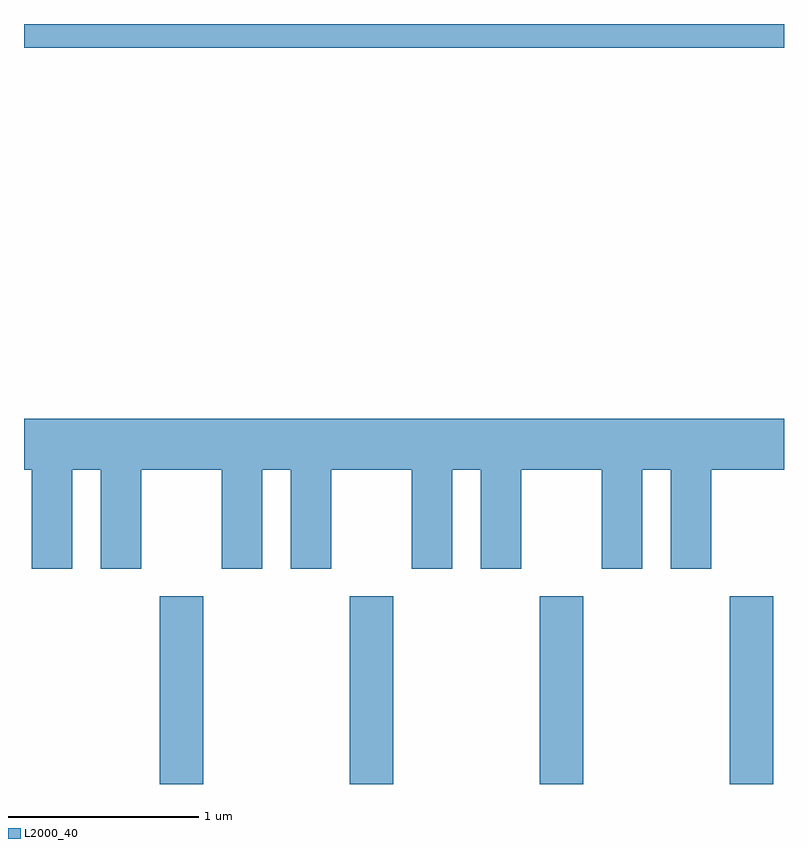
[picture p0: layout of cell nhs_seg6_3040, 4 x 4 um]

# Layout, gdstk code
import gdstk
lib = gdstk.Library(unit=1e-6, precision=1e-09)
def R(c, l, rs):  # rectangles x0, y0, x1, y1
    for r in rs: c.add(gdstk.rectangle(r[:2], r[2:], *l))
def A(c, l, x, y, w, h, nx, ny, dx, dy):  # array of equal rectangles
    R(c, l, [(x+i*dx, y+j*dy, x+i*dx+w, y+j*dy+h) for i in range(nx) for j in range(ny)])
def P(c, l, *ps):  # polygons
    for p in ps: c.add(gdstk.Polygon(p, *l))
L2000_40 = (2000, 40)

nhs_seg6_3040 = lib.new_cell('nhs_seg6_3040')
A(nhs_seg6_3040, L2000_40, 278.326, 1546.162, 0.228, 0.987, 4, 1, 1, 0)
R(nhs_seg6_3040, L2000_40, [(277.611,1550.036,281.611,1550.162)])
P(nhs_seg6_3040, L2000_40, [(277.864,1547.816),(278.016,1547.816),(278.016,1547.296),(278.229,1547.296),(278.229,1547.816),(278.651,1547.816),(278.651,1547.296),(278.864,1547.296),(278.864,1547.816),(279.016,1547.816),(279.016,1547.296),(279.229,1547.296),(279.229,1547.816),(279.651,1547.816),(279.651,1547.296),(279.864,1547.296),(279.864,1547.816),(280.016,1547.816),(280.016,1547.296),(280.229,1547.296),(280.229,1547.816),(280.651,1547.816),(280.651,1547.296),(280.864,1547.296),(280.864,1547.816),(281.016,1547.816),(281.016,1547.296),(281.229,1547.296),(281.229,1547.816),(281.611,1547.816),(281.611,1548.084),(277.611,1548.084),(277.611,1547.816),(277.651,1547.816),(277.651,1547.296),(277.864,1547.296)])

lib.write_gds('nhs_seg6_3040.gds')
